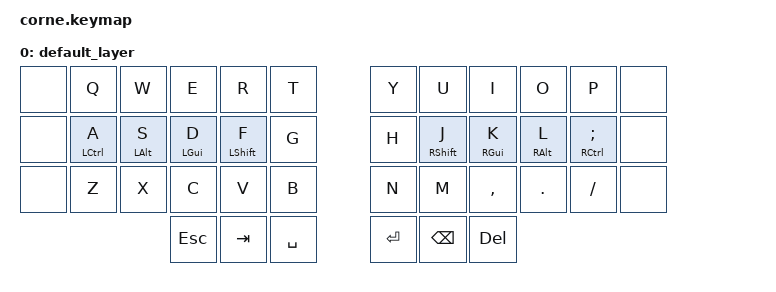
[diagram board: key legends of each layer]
/*
 * Copyright (c) 2020 The ZMK Contributors
 *
 * SPDX-License-Identifier: MIT
 */

#include <behaviors.dtsi>
#include <dt-bindings/zmk/keys.h>
#include <dt-bindings/zmk/bt.h>

#define HOST_OS 2 // Mac OS
#include "zmk-helpers/helper.h"
#include "zmk-helpers/key-labels/42.h"
#include "zmk-helpers/unicode-chars/french.dtsi"

#define DEF 0
#define NUM 1
#define SYM 2
#define FUN 3

#define ___ &trans
#define KEYS_L LT0 LT1 LT2 LT3 LT4 LM0 LM1 LM2 LM3 LM4 LB0 LB1 LB2 LB3 LB4
#define KEYS_R RT0 RT1 RT2 RT3 RT4 RM0 RM1 RM2 RM3 RM4 RB0 RB1 RB2 RB3 RB4
#define THUMBS LH0 LH1 LH2 RH0 RH1 RH2

/* Left-hand HRMs. */
ZMK_HOLD_TAP(hml,
    flavor = "balanced";
    tapping-term-ms = <280>;
    quick-tap-ms = <175>;
    require-prior-idle-ms = <150>;
    bindings = <&kp>, <&kp>;
    hold-trigger-key-positions = <KEYS_R THUMBS>;
    hold-trigger-on-release;
)

/* Right-hand HRMs. */
ZMK_HOLD_TAP(hmr,
    flavor = "balanced";
    tapping-term-ms = <280>;
    quick-tap-ms = <175>;
    require-prior-idle-ms = <150>;
    bindings = <&kp>, <&kp>;
    hold-trigger-key-positions = <KEYS_L THUMBS>;
    hold-trigger-on-release;
)

#define COMBO_TERM 50
#define COMBO_TERM_FAST 18
#define COMBO_TERM_SLOW 30

#define COMBO_IDLE_FAST 150
#define COMBO_IDLE_SLOW 50

        //    ╭────────────────┬────────────────┬────────────────┬────────────────┬────────────────┬────────────────╮   ╭────────────────┬────────────────┬────────────────┬────────────────┬────────────────┬────────────────╮
        //                       LT4              LT3              LT2              LT1              LT0                  RT0              RT1              RT2              RT3              RT4            
        //    ├────────────────┼────────────────┼────────────────┼────────────────┼────────────────┼────────────────┤   ├────────────────┼────────────────┼────────────────┼────────────────┼────────────────┼────────────────┤
        //                       LM4              LM3              LM2              LM1              LM0                  RM0              RM1              RM2              RM3              RM4            
        //    ├────────────────┼────────────────┼────────────────┼────────────────┼────────────────┼────────────────┤   ├────────────────┼────────────────┼────────────────┼────────────────┼────────────────┼────────────────┤
        //                       LB4              LB3              LB2              LB1              LB0                  RB0              RB1              RB2              RB3              RB4            
        //    ╰────────────────┴────────────────┴────────────────┼────────────────┼────────────────┼────────────────┤   ├────────────────┼────────────────┼────────────────┼────────────────┴────────────────┴────────────────╯
        //                                                         LH2              LH1              LH0                  RH0              RH1              RH2
        //                                                       ╰────────────────┴────────────────┴────────────────╯   ╰────────────────┴────────────────┴────────────────╯
// Vertical Combos - Left
ZMK_COMBO(excl, &kp N1, LT4 LM4)        // Q + A => 1 !
ZMK_COMBO(at, &kp N2, LT3 LM3)          // W + S => 2 @
ZMK_COMBO(hash, &kp N3, LT2 LM2)        // E + D => 3 #
ZMK_COMBO(dollar, &kp N4, LT1 LM1)      // R + F => 4 $
ZMK_COMBO(percent, &kp N5, LT0 LM0)     // T + G => 5 %
// Vertical Combos - Right
ZMK_COMBO(caret, &kp N6, RT0 RM0)       // Y + H => 6 ^
ZMK_COMBO(ampersand, &kp N7, RT1 RM1)   // U + J => 7 &
ZMK_COMBO(asterisk, &kp N8, RT2 RM2)    // I + K => 8 *
ZMK_COMBO(lparen, &kp N9, RT3 RM3)      // O + L => 9 (
ZMK_COMBO(rparen, &kp N0, RT4 RM4)      // P + ; => 0 )
// Horizontal Combos - Top Left
ZMK_COMBO(esc, &kp ESC, LT4 LT3)        // Q + W => ESC
ZMK_COMBO(backtick, &kp GRAVE, LT4 LB0) // Q + B => `
ZMK_COMBO(vsc_t, &kp LC(GRAVE), LT4 LB1) // Q + V => CTRL + `
// Horizontal Combos - Middle Left
// ZMK_COMBO(tab, &kp TAB, LM3 LM2) // S + D
// Horizontal Combos - Bottom Left
ZMK_COMBO(undo, &kp LG(Z), LB4 LB0)     // Z + B => CMD + Z
ZMK_COMBO(cut, &kp LG(X), LB4 LB3)      // Z + X => CMD + X
ZMK_COMBO(copy, &kp LG(C), LB4 LB2)     // Z + C => CMD + C
ZMK_COMBO(paste, &kp LG(V), LB4 LB1)    // Z + V => CMD + V
// Horizontal Combos - Top Right
ZMK_COMBO(minus, &kp MINUS, RT2 RT3)    // I + O => -
ZMK_COMBO(equal, &kp EQUAL, RT3 RT4)    // O + P => =
// Horizontal Combos - Middle Right
// ZMK_COMBO(enter, &kp ENTER, RM2 RM3) // K + L
// Horizontal Combos - Bottom Right
ZMK_COMBO(apos, &kp APOS, RM3 RM4)      // L + ; => '

ZMK_LAYER(default_layer,
        //    ╭────────────────┬────────────────┬────────────────┬────────────────┬────────────────┬────────────────╮   ╭────────────────┬────────────────┬────────────────┬────────────────┬────────────────┬────────────────╮
                &none            &kp Q            &kp W            &kp E            &kp R            &kp T                &kp Y            &kp U            &kp I            &kp O            &kp P            &none
        //    ├────────────────┼────────────────┼────────────────┼────────────────┼────────────────┼────────────────┤   ├────────────────┼────────────────┼────────────────┼────────────────┼────────────────┼────────────────┤
                &none            &hml LCTRL A     &hml LALT S      &hml LGUI D      &hml LSHFT F     &kp G                &kp H            &hmr RSHFT J     &hmr RGUI K      &hmr RALT L      &hmr RCTRL SEMI  &none
        //    ├────────────────┼────────────────┼────────────────┼────────────────┼────────────────┼────────────────┤   ├────────────────┼────────────────┼────────────────┼────────────────┼────────────────┼────────────────┤
                &none            &kp Z            &kp X            &kp C            &kp V            &kp B                &kp N            &kp M            &kp COMMA        &kp DOT          &kp FSLH         &none
        //    ╰────────────────┴────────────────┴────────────────┼────────────────┼────────────────┼────────────────┤   ├────────────────┼────────────────┼────────────────┼────────────────┴────────────────┴────────────────╯
                                                                   &kp ESC          &kp TAB          &kp SPACE            &kp RET          &kp BSPC         &kp DEL
        //                                                     ╰────────────────┴────────────────┴────────────────╯   ╰────────────────┴────────────────┴────────────────╯

)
